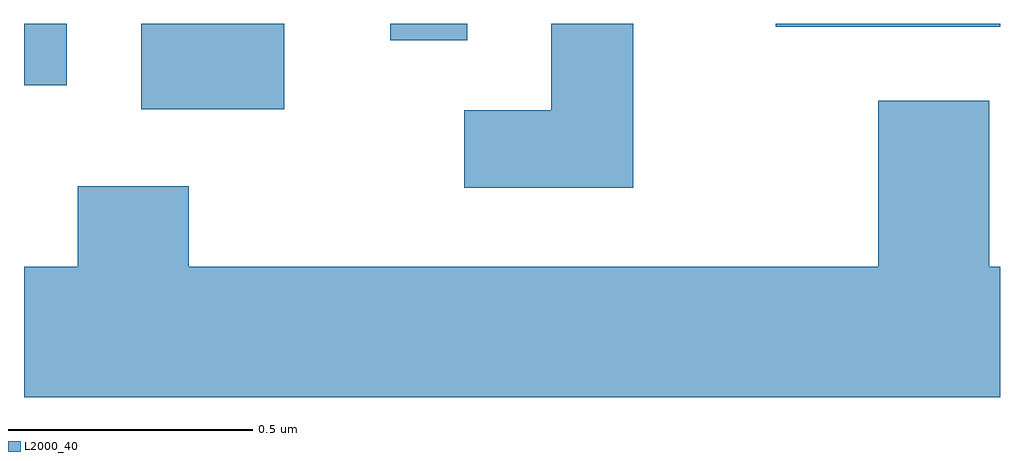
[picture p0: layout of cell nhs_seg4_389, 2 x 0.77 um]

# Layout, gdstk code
import gdstk
lib = gdstk.Library(unit=1e-6, precision=1e-09)
def R(c, l, rs):  # rectangles x0, y0, x1, y1
    for r in rs: c.add(gdstk.rectangle(r[:2], r[2:], *l))
def P(c, l, *ps):  # polygons
    for p in ps: c.add(gdstk.Polygon(p, *l))
L2000_40 = (2000, 40)

nhs_seg4_389 = lib.new_cell('nhs_seg4_389')
R(nhs_seg4_389, L2000_40, [(187.851,1370.806,188.144,1370.982), (187.611,1370.856,187.699,1370.982), (188.361,1370.948,188.519,1370.982), (189.151,1370.976,189.611,1370.982)])
P(nhs_seg4_389, L2000_40, [(188.859,1370.982),(188.691,1370.982),(188.691,1370.804),(188.513,1370.804),(188.513,1370.646),(188.859,1370.646)],
  [(189.611,1370.484),(189.589,1370.484),(189.589,1370.824),(189.361,1370.824),(189.361,1370.484),(187.949,1370.484),(187.949,1370.649),(187.721,1370.649),(187.721,1370.484),(187.611,1370.484),(187.611,1370.216),(189.611,1370.216)])

lib.write_gds('nhs_seg4_389.gds')
